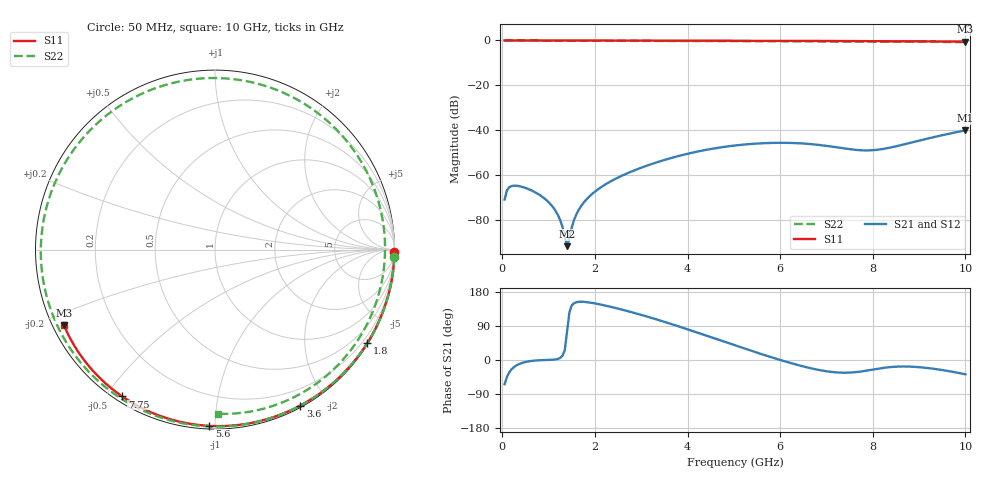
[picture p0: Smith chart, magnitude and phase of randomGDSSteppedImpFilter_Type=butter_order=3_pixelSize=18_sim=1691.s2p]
! freq	dB(S11)	phase(S11)	dB(S12)	phase(S12)
!  dB(S21)	phase(S21)	dB(S22)	phase(S22)
!S-par simulation data
#  GHz  S  DB  R 50
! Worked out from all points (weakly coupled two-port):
!   200 points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, 50 MHz to 10 GHz, reference 50 ohm
!   highest |S21| = -40.01 dB at 10 GHz (marker M1); lowest = -91.5 dB at 1.4 GHz (marker M2)
!   lowest |S11| = -0.5 dB at 10 GHz (marker M3), VSWR 33.11, Z = 1.59 - j11.8 ohm
!   |S11| at or under -10 dB: nowhere
!   |S22| runs from -0.8 to 0.0 dB; largest |S21 - S12| = 0
!   S11 on the Smith chart (normalised r, x): 50 MHz: open; 1.8 GHz: 0.03, -3.55; 3.6 GHz: 0.02, -1.69; 5.6 GHz: 0.02, -0.97; 7.75 GHz: 0.02, -0.55; 10 GHz: 0.03, -0.24
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0.05  -0.00 -0.9  -70.77 -63.8  -70.77 -63.8  -0.00 -2.4
0.15  -0.00 -2.7  -65.31 -32.7  -65.31 -32.7  -0.00 -7.1
0.5  -0.01 -8.9  -65.60 -5.3  -65.60 -5.3  -0.02 -23.7
0.95  -0.02 -16.8  -70.99 -0.1  -70.99 -0.1  -0.06 -44.7
1.25  -0.03 -22.0  -79.92 5.5  -79.92 5.5  -0.08 -58.4
1.4  -0.03 -24.6  -91.52 75.3  -91.52 75.3  -0.09 -65.1
1.55  -0.03 -27.2  -79.84 150.0  -79.84 150.0  -0.10 -71.8
1.75  -0.04 -30.6  -72.35 153.5  -72.35 153.5  -0.11 -80.7
1.8  -0.04 -31.5  -71.12 153.0  -71.12 153.0  -0.11 -82.9
2.55  -0.06 -44.1  -60.49 134.1  -60.49 134.1  -0.16 -115.2
3.4  -0.08 -58.1  -53.80 104.6  -53.80 104.6  -0.21 -151.0
3.6  -0.08 -61.3  -52.57 96.9  -52.57 96.9  -0.23 -159.5
4.35  -0.10 -73.1  -48.87 66.6  -48.87 66.6  -0.28 168.0
5.05  -0.13 -83.7  -46.67 37.5  -46.67 37.5  -0.33 135.9
5.6  -0.15 -91.9  -45.75 15.3  -45.75 15.3  -0.37 109.3
6.15  -0.18 -99.9  -45.55 -5.3  -45.55 -5.3  -0.40 81.5
6.7  -0.21 -107.7  -46.18 -22.8  -46.18 -22.8  -0.42 53.2
7.25  -0.25 -115.4  -47.64 -33.0  -47.64 -33.0  -0.45 25.3
7.75  -0.28 -122.3  -48.85 -30.3  -48.85 -30.3  -0.47 1.0
8.35  -0.34 -130.6  -47.78 -19.0  -47.78 -19.0  -0.50 -26.0
9.15  -0.42 -141.5  -43.82 -20.7  -43.82 -20.7  -0.59 -58.4
10  -0.52 -153.3  -40.01 -37.8  -40.01 -37.8  -0.77 -88.8
